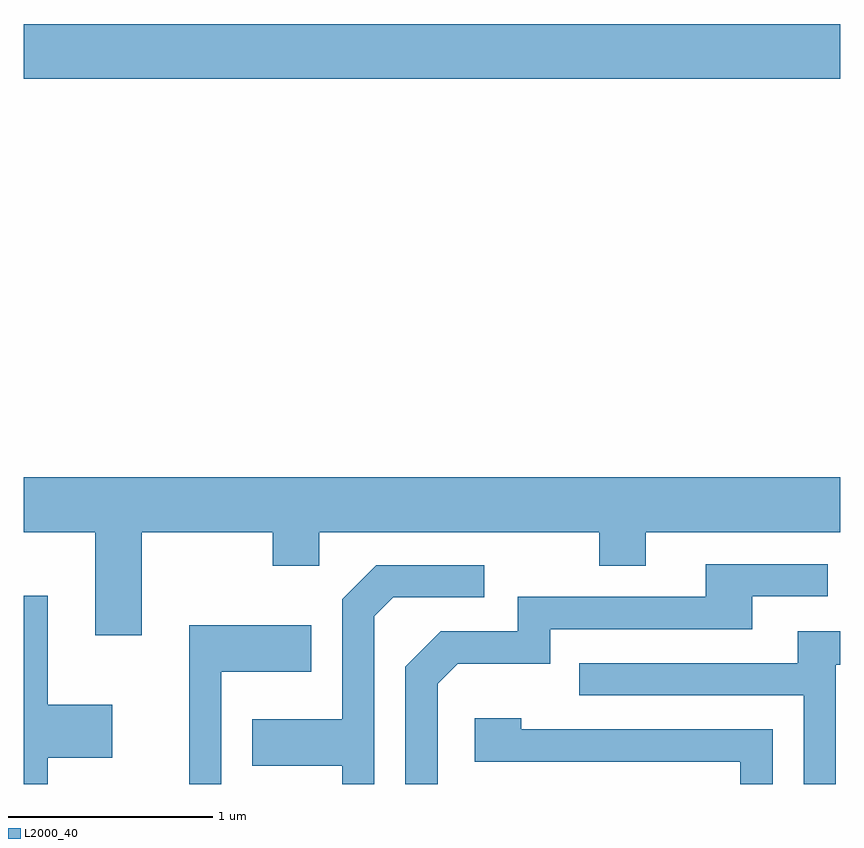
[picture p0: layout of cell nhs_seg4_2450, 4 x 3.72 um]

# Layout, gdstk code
import gdstk
lib = gdstk.Library(unit=1e-6, precision=1e-09)
def R(c, l, rs):  # rectangles x0, y0, x1, y1
    for r in rs: c.add(gdstk.rectangle(r[:2], r[2:], *l))
def P(c, l, *ps):  # polygons
    for p in ps: c.add(gdstk.Polygon(p, *l))
L2000_40 = (2000, 40)

nhs_seg4_2450 = lib.new_cell('nhs_seg4_2450')
R(nhs_seg4_2450, L2000_40, [(257.611,1261.436,261.611,1261.704)])
P(nhs_seg4_2450, L2000_40, [(258.189,1259.216),(258.831,1259.216),(258.831,1259.051),(259.059,1259.051),(259.059,1259.216),(260.431,1259.216),(260.431,1259.051),(260.659,1259.051),(260.659,1259.216),(261.611,1259.216),(261.611,1259.484),(257.611,1259.484),(257.611,1259.216),(257.961,1259.216),(257.961,1258.711),(258.189,1258.711)],
  [(259.639,1258.474),(259.736,1258.571),(260.189,1258.571),(260.189,1258.741),(261.179,1258.741),(261.179,1258.901),(261.548,1258.901),(261.548,1259.059),(260.951,1259.059),(260.951,1258.899),(260.031,1258.899),(260.031,1258.729),(259.654,1258.729),(259.481,1258.557),(259.481,1257.982),(259.639,1257.982)],
  [(259.329,1258.804),(259.421,1258.896),(259.868,1258.896),(259.868,1259.054),(259.339,1259.054),(259.171,1258.887),(259.171,1258.299),(258.731,1258.299),(258.731,1258.071),(259.171,1258.071),(259.171,1257.982),(259.329,1257.982)],
  [(257.729,1258.111),(258.044,1258.111),(258.044,1258.369),(257.729,1258.369),(257.729,1258.904),(257.611,1258.904),(257.611,1257.982),(257.729,1257.982)],
  [(258.579,1258.531),(259.019,1258.531),(259.019,1258.759),(258.421,1258.759),(258.421,1257.982),(258.579,1257.982)],
  [(261.589,1258.566),(261.611,1258.566),(261.611,1258.729),(261.401,1258.729),(261.401,1258.574),(260.332,1258.574),(260.332,1258.416),(261.431,1258.416),(261.431,1257.982),(261.589,1257.982)],
  [(261.279,1258.249),(260.049,1258.249),(260.049,1258.304),(259.821,1258.304),(259.821,1258.091),(261.121,1258.091),(261.121,1257.982),(261.279,1257.982)])

lib.write_gds('nhs_seg4_2450.gds')
